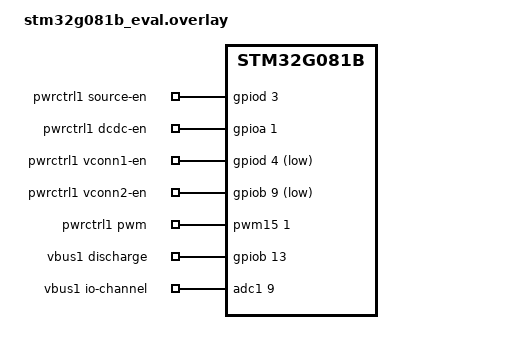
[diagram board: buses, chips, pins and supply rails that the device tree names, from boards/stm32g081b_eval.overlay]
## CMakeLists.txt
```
# SPDX-License-Identifier: Apache-2.0

cmake_minimum_required(VERSION 3.28.0)
find_package(Zephyr REQUIRED HINTS $ENV{ZEPHYR_BASE})
project(usbc_drp)

target_sources(app PRIVATE src/main.c)

# Include common USB-C sample code
include(${CMAKE_CURRENT_SOURCE_DIR}/../common/common.cmake)
```

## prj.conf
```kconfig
CONFIG_USBC_STACK=y
CONFIG_USBC_CSM_DRP=y
CONFIG_USBC_DRP_PERIOD_MS=75
CONFIG_USBC_DRP_DUTY_CYCLE=50
CONFIG_USBC_THREAD_PRIORITY=10
CONFIG_ADC=y
CONFIG_PWM=y
CONFIG_GPIO=y
CONFIG_LOG=y
CONFIG_USBC_LOG_PD_MSG_NAMES=y
```

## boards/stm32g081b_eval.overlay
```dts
/*
 * Copyright (c) 2022 The Chromium OS Authors.
 * Copyright (c) Qualcomm Technologies, Inc. and/or its subsidiaries.
 *
 * SPDX-License-Identifier: Apache-2.0
 *
 */

#include <dt-bindings/usb-c/pd.h>

/ {
	aliases {
		usbc-port0 = &port1;
		usbc-port0-pwrctrl = &pwrctrl1;
	};

	pwrctrl1: pwrctrl {
		compatible = "zephyr,usb-c-pwrctrl";

		/* Pin D3 is used to enable VBUS Source */
		source-en-gpios = <&gpiod 3 GPIO_ACTIVE_HIGH>;

		/* Pin A1 is used for DCDC_EN */
		dcdc-en-gpios = <&gpioa 1 GPIO_ACTIVE_HIGH>;

		/* Pin D4 enables VCONN on CC1 */
		vconn1-en-gpios = <&gpiod 4 GPIO_ACTIVE_LOW>;

		/* Pin B9 enables VCONN on CC2 */
		vconn2-en-gpios = <&gpiob 9 GPIO_ACTIVE_LOW>;

		/* PWM for voltage selection */
		pwms = <&pwm15 1 PWM_USEC(50) PWM_POLARITY_INVERTED>;
	};

	/* usbc.rst vbus-voltage-divider-adc start */
	vbus1: vbus {
		compatible = "zephyr,usb-c-vbus-adc";
		io-channels = <&adc1 9>;
		output-ohms = <49900>;
		full-ohms = <(330000 + 49900)>;

		/* Pin B13 is used to control VBUS Discharge for Port1 */
		discharge-gpios = <&gpiob 13 GPIO_ACTIVE_HIGH>;
	};
	/* usbc.rst vbus-voltage-divider-adc end */

	ports {
		#address-cells = <1>;
		#size-cells = <0>;

		/* usbc.rst usbc-port start */
		port1: usbc-port@1 {
			compatible = "usb-c-connector";
			reg = <1>;
			tcpc = <&ucpd1>;
			vbus = <&vbus1>;
			power-role = "dual";
			typec-power-opmode = "3.0A";
			source-pdos = <PDO_FIXED(5000, 100, 0) PDO_FIXED(9000, 100, 0)
				       PDO_FIXED(15000, 100, 0)>;
			sink-pdos = <PDO_FIXED(5000, 100, 0)>;
		};
		/* usbc.rst usbc-port end */
	};
};

&ucpd1 {
	dead-battery;
};
```

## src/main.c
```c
/*
 * Copyright (c) 2022 The Chromium OS Authors.
 * Copyright (c) Qualcomm Technologies, Inc. and/or its subsidiaries.
 *
 * SPDX-License-Identifier: Apache-2.0
 */

#include <zephyr/kernel.h>
#include <zephyr/device.h>
#include <zephyr/devicetree.h>
#include <zephyr/usb_c/usbc.h>

#include <zephyr/logging/log.h>
LOG_MODULE_REGISTER(main, LOG_LEVEL_DBG);

#include <power_ctrl.h>

#define USBC_PORT0_NODE         DT_ALIAS(usbc_port0)
#define USBC_PORT0_PWRCTRL_NODE DT_ALIAS(usbc_port0_pwrctrl)

#if !DT_NODE_HAS_STATUS(USBC_PORT0_PWRCTRL_NODE, okay)
#error "Unsupported board: usbc-port0-pwrctrl devicetree alias is not defined"
#endif

BUILD_ASSERT(DT_ENUM_IDX(USBC_PORT0_NODE, power_role) == TC_ROLE_CAP_DRP,
	     "Unsupported board: Only Dual Role Power (DRP) device supported");

/* Flag bits for power supply state management */
#define PS_SOURCE_REQUEST_BIT    0 /* Source: Display sink request */
#define PS_SOURCE_TRAN_START_BIT 1 /* Source: Start voltage transition */
#define PS_SOURCE_READY_BIT      2 /* Source: Voltage transition complete */
#define PS_SINK_READY_BIT        3 /* Sink: Source has finished transition */

/* usbc.rst port data object start */
/**
 * @brief A structure that encapsulates Port data.
 */
static struct port0_data_t {
	/** Power controller device */
	const struct device *pwrctrl;
	/** CC Rp value */
	int rp;
	/** Source Capabilities */
	uint32_t src_caps[DT_PROP_LEN(USBC_PORT0_NODE, source_pdos)];
	/** Number of Source Capabilities */
	int src_cap_cnt;
	/** Sink Capabilities */
	uint32_t snk_caps[DT_PROP_LEN(USBC_PORT0_NODE, sink_pdos)];
	/** Number of Sink Capabilities */
	int snk_cap_cnt;
	/* Current Power role */
	enum tc_power_role current_power_role;
	/* Current Data role */
	enum tc_data_role current_data_role;
	/** Sink Request RDO */
	union pd_rdo sink_request;
	/** Requested Object Pos */
	int obj_pos;
	/** VCONN CC line*/
	enum tc_cc_polarity vconn_pol;
	/** Atomic ps_flags for power supply state management */
	atomic_t ps_flags;
	/** Source Capabilities of the port partner */
	uint32_t partner_src_caps[PDO_MAX_DATA_OBJECTS];
	/** Number of Source Capabilities of the port partner */
	int partner_src_cap_cnt;
} port0_data = {
	.rp = DT_ENUM_IDX(USBC_PORT0_NODE, typec_power_opmode),
	.src_caps = DT_PROP(USBC_PORT0_NODE, source_pdos),
	.src_cap_cnt = DT_PROP_LEN(USBC_PORT0_NODE, source_pdos),
	.snk_caps = DT_PROP(USBC_PORT0_NODE, sink_pdos),
	.snk_cap_cnt = DT_PROP_LEN(USBC_PORT0_NODE, sink_pdos),
	.current_power_role = TC_ROLE_SINK,
	.current_data_role = TC_ROLE_DISCONNECTED,
};
/* usbc.rst port data object end */

/**
 * @brief Builds a Request Data Object (RDO) with the following properties:
 *		- Maximum operating current 100mA
 *		- Operating current is 100mA
 *		- Unchunked Extended Messages Not Supported
 *		- No USB Suspend
 *		- Not USB Communications Capable
 *		- No capability mismatch
 *		- Does not Giveback
 *		- Select object position 1 (5V Power Data Object (PDO))
 *
 * @note Generally a sink application would build an RDO from the
 *	 Source Capabilities stored in the dpm_data object
 */
static uint32_t build_rdo(const struct port0_data_t *dpm_data)
{
	union pd_rdo rdo;

	/* Maximum operating current 100mA (GIVEBACK = 0) */
	rdo.fixed.min_or_max_operating_current = PD_CONVERT_MA_TO_FIXED_PDO_CURRENT(100);
	/* Operating current 100mA */
	rdo.fixed.operating_current = PD_CONVERT_MA_TO_FIXED_PDO_CURRENT(100);
	/* Unchunked Extended Messages Not Supported */
	rdo.fixed.unchunked_ext_msg_supported = 0;
	/* No USB Suspend */
	rdo.fixed.no_usb_suspend = 1;
	/* Not USB Communications Capable */
	rdo.fixed.usb_comm_capable = 0;
	/* No capability mismatch */
	rdo.fixed.cap_mismatch = 0;
	/* Don't giveback */
	rdo.fixed.giveback = 0;
	/* Object position 1 (5V PDO) */
	rdo.fixed.object_pos = 1;

	return rdo.raw_value;
}

static void display_pdo(const int idx, const uint32_t pdo_value)
{
	union pd_fixed_supply_pdo_source pdo;

	/* Default to fixed supply pdo source until type is detected */
	pdo.raw_value = pdo_value;

	LOG_INF("PDO %d:0x%08x", idx, pdo.raw_value);
	switch (pdo.type) {
	case PDO_FIXED: {
		LOG_INF("\tType:                FIXED");
		LOG_INF("\tCurrent:             %d",
			PD_CONVERT_FIXED_PDO_CURRENT_TO_MA(pdo.max_current));
		LOG_INF("\tVoltage:             %d",
			PD_CONVERT_FIXED_PDO_VOLTAGE_TO_MV(pdo.voltage));
		LOG_INF("\tPeak Current:        %d", pdo.peak_current);
		LOG_INF("\tUchunked Support:    %d", pdo.unchunked_ext_msg_supported);
		LOG_INF("\tDual Role Data:      %d", pdo.dual_role_data);
		LOG_INF("\tUSB Comms:           %d", pdo.usb_comms_capable);
		LOG_INF("\tUnconstrained Pwr:   %d", pdo.unconstrained_power);
		LOG_INF("\tUSB Suspend:         %d", pdo.usb_suspend_supported);
		LOG_INF("\tDual Role Power:     %d", pdo.dual_role_power);
	} break;
	case PDO_BATTERY: {
		union pd_battery_supply_pdo_source batt_pdo;

		batt_pdo.raw_value = pdo_value;
		LOG_INF("\tType:                BATTERY");
		LOG_INF("\tMin Voltage:         %d",
			PD_CONVERT_BATTERY_PDO_VOLTAGE_TO_MV(batt_pdo.min_voltage));
		LOG_INF("\tMax Voltage:         %d",
			PD_CONVERT_BATTERY_PDO_VOLTAGE_TO_MV(batt_pdo.max_voltage));
		LOG_INF("\tMax Power:           %d",
			PD_CONVERT_BATTERY_PDO_POWER_TO_MW(batt_pdo.max_power));
	} break;
	case PDO_VARIABLE: {
		union pd_variable_supply_pdo_source var_pdo;

		var_pdo.raw_value = pdo_value;
		LOG_INF("\tType:                VARIABLE");
		LOG_INF("\tMin Voltage:         %d",
			PD_CONVERT_VARIABLE_PDO_VOLTAGE_TO_MV(var_pdo.min_voltage));
		LOG_INF("\tMax Voltage:         %d",
			PD_CONVERT_VARIABLE_PDO_VOLTAGE_TO_MV(var_pdo.max_voltage));
		LOG_INF("\tMax Current:         %d",
			PD_CONVERT_VARIABLE_PDO_CURRENT_TO_MA(var_pdo.max_current));
	} break;
	case PDO_AUGMENTED: {
		union pd_augmented_supply_pdo_source aug_pdo;

		aug_pdo.raw_value = pdo_value;
		LOG_INF("\tType:                AUGMENTED");
		LOG_INF("\tMin Voltage:         %d",
			PD_CONVERT_AUGMENTED_PDO_VOLTAGE_TO_MV(aug_pdo.min_voltage));
		LOG_INF("\tMax Voltage:         %d",
			PD_CONVERT_AUGMENTED_PDO_VOLTAGE_TO_MV(aug_pdo.max_voltage));
		LOG_INF("\tMax Current:         %d",
			PD_CONVERT_AUGMENTED_PDO_CURRENT_TO_MA(aug_pdo.max_current));
		LOG_INF("\tPPS Power Limited:   %d", aug_pdo.pps_power_limited);
	} break;
	}
}

static void display_rdo(const uint32_t rdo_value)
{
	union pd_rdo rdo;

	rdo.raw_value = rdo_value;
	LOG_INF("RDO :0x%08x", rdo.raw_value);
	LOG_INF("\tType:                FIXED");
	LOG_INF("\tObject Position:     %d", rdo.fixed.object_pos);
	LOG_INF("\tGiveback:            %d", rdo.fixed.giveback);
	LOG_INF("\tCapability Mismatch: %d", rdo.fixed.cap_mismatch);
	LOG_INF("\tUSB Comm Capable:    %d", rdo.fixed.usb_comm_capable);
	LOG_INF("\tNo USB Suspend:      %d", rdo.fixed.no_usb_suspend);
	LOG_INF("\tUnchunk Ext MSG Support: %d", rdo.fixed.unchunked_ext_msg_supported);
	LOG_INF("\tOperating Current:   %d mA",
		PD_CONVERT_FIXED_PDO_CURRENT_TO_MA(rdo.fixed.operating_current));
}

static void display_source_caps(const uint32_t *pdos, const int num_pdos)
{
	LOG_INF("Source Caps:");
	for (int i = 0; i < num_pdos; i++) {
		display_pdo(i, pdos[i]);
		k_msleep(50);
	}
}

/* usbc.rst callbacks start */
/**
 * @brief PE calls this function when it needs to set the Rp on CC
 */
int port0_policy_cb_get_src_rp(const struct device *dev, enum tc_rp_value *rp)
{
	struct port0_data_t *dpm_data = usbc_get_dpm_data(dev);

	*rp = dpm_data->rp;

	return 0;
}

/**
 * @brief PE calls this function to Enable (5V) or Disable (0V) the
 *	  Power Supply
 */
int port0_policy_cb_src_en(const struct device *dev, bool en)
{
	struct port0_data_t *dpm_data = usbc_get_dpm_data(dev);

	return source_ctrl_set(dpm_data->pwrctrl, en ? SOURCE_5V : SOURCE_0V);
}

/**
 * @brief PE calls this function to Enable or Disable VCONN
 */
int port0_policy_cb_vconn_en(const struct device *tcpc_dev, const struct device *usbc_dev,
			     enum tc_cc_polarity pol, bool en)
{
	struct port0_data_t *dpm_data = usbc_get_dpm_data(usbc_dev);

	dpm_data->vconn_pol = pol;

	if (en == true) {
		if (pol == TC_POLARITY_CC1) {
			/* set VCONN on CC1 */
			return vconn_ctrl_set(dpm_data->pwrctrl, VCONN1_ON);
		}
		/* set VCONN on CC2 */
		return vconn_ctrl_set(dpm_data->pwrctrl, VCONN2_ON);
	}

	return vconn_ctrl_set(dpm_data->pwrctrl, VCONN_OFF);
}

/**
 * @brief PE calls this function to get the Source Caps that will be sent
 *	  to the Sink
 */
int port0_policy_cb_get_src_caps(const struct device *dev, const uint32_t **pdos,
				 uint32_t *num_pdos)
{
	struct port0_data_t *dpm_data = usbc_get_dpm_data(dev);

	*pdos = dpm_data->src_caps;
	*num_pdos = dpm_data->src_cap_cnt;

	return 0;
}

/**
 * @brief PE calls this function to verify that a Sink's request if valid
 */
static enum usbc_snk_req_reply_t port0_policy_cb_check_sink_request(const struct device *dev,
								    const uint32_t request_msg)
{
	struct port0_data_t *dpm_data = usbc_get_dpm_data(dev);
	union pd_fixed_supply_pdo_source pdo;
	uint32_t obj_pos;
	uint32_t op_current;

	dpm_data->sink_request.raw_value = request_msg;
	obj_pos = dpm_data->sink_request.fixed.object_pos;
	op_current =
		PD_CONVERT_FIXED_PDO_CURRENT_TO_MA(dpm_data->sink_request.fixed.operating_current);

	if (obj_pos == 0 || obj_pos > dpm_data->src_cap_cnt) {
		return SNK_REQUEST_REJECT;
	}

	pdo.raw_value = dpm_data->src_caps[obj_pos - 1];

	if (dpm_data->sink_request.fixed.operating_current > pdo.max_current) {
		return SNK_REQUEST_REJECT;
	}

	dpm_data->obj_pos = obj_pos;

	atomic_set_bit(&dpm_data->ps_flags, PS_SOURCE_REQUEST_BIT);

	/*
	 * Clear PS ready. This will be set to true after PS is ready after
	 * it transitions to the new level.
	 */
	atomic_clear_bit(&dpm_data->ps_flags, PS_SOURCE_READY_BIT);

	return SNK_REQUEST_VALID;
}

/**
 * @brief PE calls this function to check if the Power Supply is at the requested
 *	  level
 */
static bool port0_policy_cb_is_ps_ready(const struct device *dev)
{
	struct port0_data_t *dpm_data = usbc_get_dpm_data(dev);

	return atomic_test_bit(&dpm_data->ps_flags, PS_SOURCE_READY_BIT);
}

/**
 * @brief PE calls this function to check if the Present Contract is still
 *	  valid
 */
static bool port0_policy_cb_present_contract_is_valid(const struct device *dev,
						      const uint32_t present_contract)
{
	struct port0_data_t *dpm_data = usbc_get_dpm_data(dev);
	union pd_fixed_supply_pdo_source pdo;
	union pd_rdo request;
	uint32_t obj_pos;
	uint32_t op_current;

	request.raw_value = present_contract;
	obj_pos = request.fixed.object_pos;
	op_current = PD_CONVERT_FIXED_PDO_CURRENT_TO_MA(request.fixed.operating_current);

	if (obj_pos == 0 || obj_pos > dpm_data->src_cap_cnt) {
		return false;
	}

	pdo.raw_value = dpm_data->src_caps[obj_pos - 1];

	if (request.fixed.operating_current > pdo.max_current) {
		return false;
	}

	return true;
}

static int port0_policy_cb_get_snk_cap(const struct device *dev, uint32_t **pdos, int *num_pdos)
{
	struct port0_data_t *dpm_data = usbc_get_dpm_data(dev);

	*pdos = dpm_data->snk_caps;
	*num_pdos = dpm_data->snk_cap_cnt;

	return 0;
}

static void port0_policy_cb_set_src_cap(const struct device *dev, const uint32_t *pdos,
					const int num_pdos)
{
	struct port0_data_t *dpm_data;
	int num;
	int i;

	dpm_data = usbc_get_dpm_data(dev);

	num = num_pdos;
	if (num > PDO_MAX_DATA_OBJECTS) {
		num = PDO_MAX_DATA_OBJECTS;
	}

	for (i = 0; i < num; i++) {
		dpm_data->partner_src_caps[i] = *(pdos + i);
	}

	dpm_data->partner_src_cap_cnt = num;
}

static uint32_t port0_policy_cb_get_rdo(const struct device *dev)
{
	struct port0_data_t *dpm_data = usbc_get_dpm_data(dev);

	return build_rdo(dpm_data);
}
/* usbc.rst callbacks end */

/* usbc.rst notify start */
static void port0_notify(const struct device *dev, const enum usbc_policy_notify_t policy_notify)
{
	struct port0_data_t *dpm_data = usbc_get_dpm_data(dev);

	switch (policy_notify) {
	case PROTOCOL_ERROR:
		break;
	case MSG_DISCARDED:
		break;
	case MSG_ACCEPT_RECEIVED:
		break;
	case MSG_REJECTED_RECEIVED:
		break;
	case MSG_NOT_SUPPORTED_RECEIVED:
		break;
	case POWER_ROLE_IS_SOURCE:
		dpm_data->current_power_role = TC_ROLE_SOURCE;
		break;
	case POWER_ROLE_IS_SINK:
		dpm_data->current_power_role = TC_ROLE_SINK;
		break;
	case TRANSITION_PS:
		/* Handle based on current power role */
		if (dpm_data->current_power_role == TC_ROLE_SOURCE) {
			/* Source: Start power supply transition */
			atomic_set_bit(&dpm_data->ps_flags, PS_SOURCE_TRAN_START_BIT);
		} else {
			/* Sink: Source has finished transition */
			atomic_set_bit(&dpm_data->ps_flags, PS_SINK_READY_BIT);
		}
		break;
	case PD_CONNECTED:
		break;
	case NOT_PD_CONNECTED:
		break;
	case POWER_CHANGE_0A0:
		break;
	case POWER_CHANGE_DEF:
		break;
	case POWER_CHANGE_1A5:
		break;
	case POWER_CHANGE_3A0:
		break;
	case DATA_ROLE_IS_UFP:
		dpm_data->current_data_role = TC_ROLE_UFP;
		break;
	case DATA_ROLE_IS_DFP:
		dpm_data->current_data_role = TC_ROLE_DFP;
		break;
	case PORT_PARTNER_NOT_RESPONSIVE:
		LOG_INF("Port Partner not PD Capable");
		break;
	case SNK_TRANSITION_TO_DEFAULT:
		break;
	case HARD_RESET_RECEIVED:
		/*
		 * This notification is sent from the PE_SRC_Transition_to_default
		 * state and requires the following:
		 *	1: Vconn should be turned OFF
		 *	2: Reset of the local hardware
		 */

		/* Power off VCONN */
		vconn_ctrl_set(dpm_data->pwrctrl, VCONN_OFF);
		/* Transition PS to Default level */
		source_ctrl_set(dpm_data->pwrctrl, SOURCE_5V);
		break;
	case SENDER_RESPONSE_TIMEOUT:
		break;
	case SOURCE_CAPABILITIES_RECEIVED:
		break;
	default:
	}
}
/* usbc.rst notify end */

/* usbc.rst check start */
bool port0_policy_check(const struct device *dev, const enum usbc_policy_check_t policy_check)
{
	struct port0_data_t *dpm_data = usbc_get_dpm_data(dev);

	switch (policy_check) {
	case CHECK_POWER_ROLE_SWAP:
		/* Reject power role swaps */
		return false;
	case CHECK_DATA_ROLE_SWAP_TO_DFP:
		/* Accept data role swap to DFP */
		return true;
	case CHECK_DATA_ROLE_SWAP_TO_UFP:
		/* Accept data role swap to UFP */
		return true;
	case CHECK_SNK_AT_DEFAULT_LEVEL:
		/* This device is always at the default power level */
		return true;
	case CHECK_SRC_PS_AT_DEFAULT_LEVEL:
		/*
		 * This check is sent from the PE_SRC_Transition_to_default
		 * state and requires the following:
		 *	1: Vconn should be turned ON
		 *	2: Return TRUE when Power Supply is at default level
		 */

		/* Power on VCONN */
		vconn_ctrl_set(dpm_data->pwrctrl, dpm_data->vconn_pol);

		/* PS should be at default level after receiving a Hard Reset */
		return true;
	default:
		/* Reject all other policy checks */
		return false;
	}
}
/* usbc.rst check end */

int main(void)
{
	const struct device *usbc_port0;

	/* Get the device for this port */
	usbc_port0 = DEVICE_DT_GET(USBC_PORT0_NODE);
	if (!device_is_ready(usbc_port0)) {
		LOG_ERR("PORT0 device not ready");
		return 0;
	}

	/* Get the power controller device for this port */
	port0_data.pwrctrl = DEVICE_DT_GET(USBC_PORT0_PWRCTRL_NODE);
	if (!device_is_ready(port0_data.pwrctrl)) {
		LOG_ERR("PORT0 power controller not ready");
		return 0;
	}

	/* usbc.rst register start */
	/* Register USB-C Callbacks */

	/* Register Policy Check callback */
	usbc_set_policy_cb_check(usbc_port0, port0_policy_check);
	/* Register Policy Notify callback */
	usbc_set_policy_cb_notify(usbc_port0, port0_notify);
	/* Register Policy callback to set the Rp on CC lines */
	usbc_set_policy_cb_get_src_rp(usbc_port0, port0_policy_cb_get_src_rp);
	/* Register Policy callback to enable or disable power supply */
	usbc_set_policy_cb_src_en(usbc_port0, port0_policy_cb_src_en);
	/* Register Policy callback to enable or disable vconn */
	usbc_set_vconn_control_cb(usbc_port0, port0_policy_cb_vconn_en);
	/* Register Policy callback to send the source caps to the sink */
	usbc_set_policy_cb_get_src_caps(usbc_port0, port0_policy_cb_get_src_caps);
	/* Register Policy callback to check if the sink request is valid */
	usbc_set_policy_cb_check_sink_request(usbc_port0, port0_policy_cb_check_sink_request);
	/* Register Policy callback to check if the power supply is ready */
	usbc_set_policy_cb_is_ps_ready(usbc_port0, port0_policy_cb_is_ps_ready);
	/* Register Policy callback to check if Present Contract is still valid */
	usbc_set_policy_cb_present_contract_is_valid(usbc_port0,
						     port0_policy_cb_present_contract_is_valid);
	/* Register Policy Get Sink Capabilities callback */
	usbc_set_policy_cb_get_snk_cap(usbc_port0, port0_policy_cb_get_snk_cap);
	/* Register Policy Set Source Capabilities callback */
	usbc_set_policy_cb_set_src_cap(usbc_port0, port0_policy_cb_set_src_cap);
	/* Register Policy Get Request Data Object callback */
	usbc_set_policy_cb_get_rdo(usbc_port0, port0_policy_cb_get_rdo);
	/* usbc.rst register end */

	/* usbc.rst user data start */
	/* Set Application port data object. This object is passed to the policy callbacks */
	usbc_set_dpm_data(usbc_port0, &port0_data);
	/* usbc.rst user data end */

	/* Initialize atomic ps_flags */
	port0_data.ps_flags = ATOMIC_INIT(0);

	/* usbc.rst usbc start */
	/* Start the USB-C Subsystem */
	usbc_start(usbc_port0);
	/* usbc.rst usbc end */

	while (1) {
		/* Source: Transition PS to new level */
		if (atomic_test_and_clear_bit(&port0_data.ps_flags, PS_SOURCE_TRAN_START_BIT)) {
			/*
			 * Transition Power Supply to new voltage.
			 * Okay if this blocks.
			 */
			source_ctrl_set(port0_data.pwrctrl, port0_data.obj_pos);
			atomic_set_bit(&port0_data.ps_flags, PS_SOURCE_READY_BIT);
		}

		/* Source: Display Request */
		if (atomic_test_and_clear_bit(&port0_data.ps_flags, PS_SOURCE_REQUEST_BIT)) {
			/* Display the Sink request */
			display_rdo(port0_data.sink_request.raw_value);
		}

		/* Sink: Display Source Capabilities */
		if (atomic_test_and_clear_bit(&port0_data.ps_flags, PS_SINK_READY_BIT)) {
			/* Display partner Source Capabilities */
			display_source_caps(port0_data.partner_src_caps,
					    port0_data.partner_src_cap_cnt);
		}

		/* Arbitrary delay */
		k_msleep(10);
	}

	return 0;
}
```

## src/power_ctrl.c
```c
/*
 * Copyright (c) 2023 The Chromium OS Authors.
 * Copyright (c) Qualcomm Technologies, Inc. and/or its subsidiaries.
 *
 * SPDX-License-Identifier: Apache-2.0
 */

#include <zephyr/kernel.h>
#include <zephyr/device.h>
#include <zephyr/devicetree.h>
#include <zephyr/drivers/adc.h>
#include <zephyr/drivers/gpio.h>
#include <zephyr/init.h>
#include <zephyr/usb_c/usbc.h>
#include <zephyr/drivers/pwm.h>

#include <zephyr/logging/log.h>
LOG_MODULE_REGISTER(power_ctrl, LOG_LEVEL_DBG);

#include "power_ctrl.h"

#define PORT1_DCDC_DETECT_NODE DT_PATH(dcdc_detect)
#define PWRCTRL_NODE         DT_NODELABEL(pwrctrl)

/* DCDC Voltage is 19V and setting min threshold to 18V */
#define MIN_DCDC_DETECT_MV 18000

#define PWM_FOR_15V 45000
#define PWM_FOR_9V  30000
#define PWM_FOR_5V  21500
#define PWM_FOR_0V  0

/* Required properties */
static const struct gpio_dt_spec source_en = GPIO_DT_SPEC_GET(PWRCTRL_NODE, source_en_gpios);
static const struct gpio_dt_spec vconn1_en = GPIO_DT_SPEC_GET(PWRCTRL_NODE, vconn1_en_gpios);
static const struct gpio_dt_spec vconn2_en = GPIO_DT_SPEC_GET(PWRCTRL_NODE, vconn2_en_gpios);

/* Optional properties - use _GET_OR for graceful fallback */
static const struct gpio_dt_spec dcdc_en = GPIO_DT_SPEC_GET_OR(PWRCTRL_NODE, dcdc_en_gpios, {0});
static const struct pwm_dt_spec pwm_ctl = PWM_DT_SPEC_GET_OR(PWRCTRL_NODE, {0});

int vconn_ctrl_set(enum vconn_t v)
{
	switch (v) {
	case VCONN_OFF:
		gpio_pin_set_dt(&vconn1_en, 0);
		gpio_pin_set_dt(&vconn2_en, 0);
		break;
	case VCONN1_ON:
		gpio_pin_set_dt(&vconn1_en, 1);
		gpio_pin_set_dt(&vconn2_en, 0);
		break;
	case VCONN2_ON:
		gpio_pin_set_dt(&vconn1_en, 0);
		gpio_pin_set_dt(&vconn2_en, 1);
		break;
	};

	return 0;
}

int source_ctrl_set(enum source_t v)
{
	uint32_t pwmv;

	switch (v) {
	case SOURCE_0V:
		pwmv = PWM_FOR_0V;
		break;
	case SOURCE_5V:
		pwmv = PWM_FOR_5V;
		break;
	case SOURCE_9V:
		pwmv = PWM_FOR_9V;
		break;
	case SOURCE_15V:
		pwmv = PWM_FOR_15V;
		break;
	default:
		pwmv = PWM_FOR_0V;
	}

	return pwm_set_pulse_dt(&pwm_ctl, pwmv);
}

static int power_ctrl_init(void)
{
	int ret;

	if (!gpio_is_ready_dt(&source_en)) {
		LOG_ERR("Error: Source Enable device %s is not ready",
			source_en.port->name);
		return -ENODEV;
	}

	if (!gpio_is_ready_dt(&dcdc_en)) {
		LOG_ERR("Error: DCDC Enable device %s is not ready",
			dcdc_en.port->name);
		return -ENODEV;
	}

	if (!gpio_is_ready_dt(&vconn1_en)) {
		LOG_ERR("Error: VCONN1 Enable device %s is not ready",
			vconn1_en.port->name);
		return -ENODEV;
	}

	if (!gpio_is_ready_dt(&vconn2_en)) {
		LOG_ERR("Error: VCONN2 Enable device %s is not ready",
			vconn2_en.port->name);
		return -ENODEV;
	}

	if (!pwm_is_ready_dt(&pwm_ctl)) {
		LOG_ERR("Error: PWM CTL device is not ready");
		return -ENODEV;
	}

	ret = gpio_pin_configure_dt(&source_en, GPIO_OUTPUT);
	if (ret != 0) {
		LOG_ERR("Error %d: failed to configure Source Enable device %s pin %d",
			ret, source_en.port->name, source_en.pin);
		return ret;
	}

	ret = gpio_pin_configure_dt(&dcdc_en, GPIO_OUTPUT);
	if (ret != 0) {
		LOG_ERR("Error %d: failed to configure DCDC Enable device %s pin %d",
			ret, dcdc_en.port->name, dcdc_en.pin);
		return ret;
	}

	ret = gpio_pin_configure_dt(&vconn1_en, GPIO_OUTPUT | GPIO_OPEN_DRAIN);
	if (ret != 0) {
		LOG_ERR("Error %d: failed to configure VCONN1 Enable device %s pin %d",
			ret, vconn1_en.port->name, vconn1_en.pin);
		return ret;
	}

	ret = gpio_pin_configure_dt(&vconn2_en, GPIO_OUTPUT | GPIO_OPEN_DRAIN);
	if (ret != 0) {
		LOG_ERR("Error %d: failed to configure VCONN2 Enable device %s pin %d",
			ret, vconn2_en.port->name, vconn1_en.pin);
		return ret;
	}

	ret = gpio_pin_set_dt(&source_en, 1);
	if (ret != 0) {
		LOG_ERR("Error %d: failed to enable source", ret);
		return ret;
	}

	ret = gpio_pin_set_dt(&dcdc_en, 1);
	if (ret != 0) {
		LOG_ERR("Error %d: failed to enable dcdc converter", ret);
		return ret;
	}

	vconn_ctrl_set(VCONN_OFF);

	ret = source_ctrl_set(SOURCE_0V);
	if (ret != 0) {
		LOG_ERR("Error %d: failed to set VBUS to 0V", ret);
		return ret;
	}

	return 0;
}

SYS_INIT(power_ctrl_init, APPLICATION, CONFIG_KERNEL_INIT_PRIORITY_DEFAULT);
```

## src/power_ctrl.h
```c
/*
 * Copyright (c) 2023 The Chromium OS Authors
 * Copyright (c) Qualcomm Technologies, Inc. and/or its subsidiaries.
 *
 * SPDX-License-Identifier: Apache-2.0
 */

#ifndef _POWER_CTRL_H_
#define _POWER_CTRL_H_

/**
 * @brief VBUS levels
 */
enum source_t {
	/* VBUS off */
	SOURCE_0V,
	/* VBUS at default */
	SOURCE_5V,
	/* VBUS at 9V */
	SOURCE_9V,
	/* VBUS at 15V */
	SOURCE_15V
};

/**
 * @brief VCONN control
 */
enum vconn_t {
	/* VCONN OFF */
	VCONN_OFF,
	/* VCONN ON CC1 */
	VCONN1_ON,
	/* VCONN ON CC2 */
	VCONN2_ON
};

/**
 * @brief Control VCONN
 */
int vconn_ctrl_set(enum vconn_t v);

/**
 * @brief Control VBUS
 */
int source_ctrl_set(enum source_t v);

#endif /* _POWER_CTRL_H_ */
```
